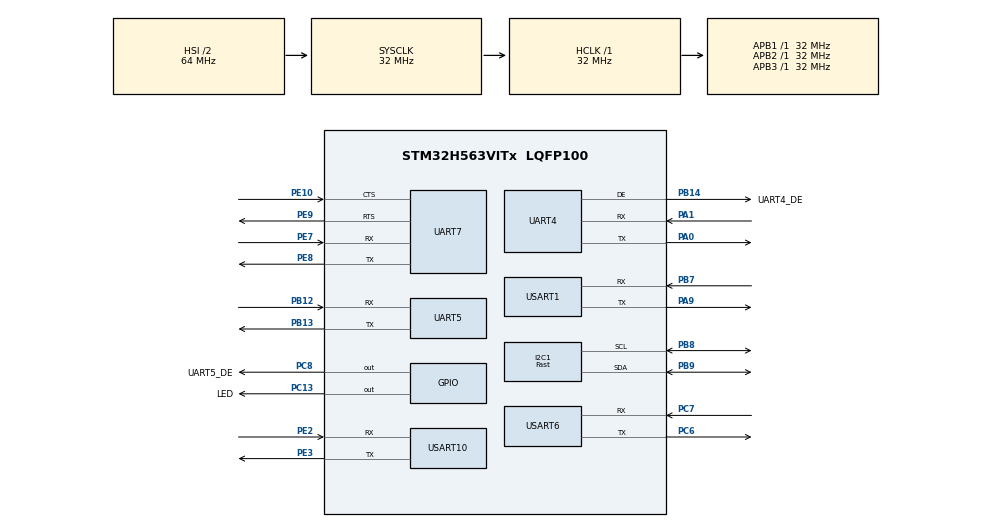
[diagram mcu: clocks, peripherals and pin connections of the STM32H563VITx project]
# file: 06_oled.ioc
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BOOTPATH.BootPathName=LEGACY
BOOTPATH.UserSelectedBootPath=LEGACY
CORTEX_M33_NS.userName=CORTEX_M33
GPDMA1.CIRCULARMODE_GPDMACH1=ENABLE
GPDMA1.CIRCULARMODE_GPDMACH2=ENABLE
GPDMA1.RECAP_GPDMACH1=GPDMA1_REQUEST_USART1_RX
I2C1.I2C_Speed_Mode=I2C_Fast
I2C1.Timing=0x00300F38
Mcu.Family=STM32H5
Mcu.Name=STM32H563VITx
Mcu.Package=LQFP100
NVIC.PriorityGroup=NVIC_PRIORITYGROUP_4
NVIC.USART1_IRQn=true\:0\:0\:false\:false\:true\:true\:true\:true
PA0.Mode=Asynchronous
PA0.Signal=UART4_TX
PA1.Mode=Asynchronous
PA1.Signal=UART4_RX
PA9.Mode=Asynchronous
PA9.Signal=USART1_TX
PB12.Mode=Asynchronous
PB12.Signal=UART5_RX
PB13.Mode=Asynchronous
PB13.Signal=UART5_TX
PB14.GPIO_Label=UART4_DE
PB14.Mode=Hardware Flow Control (RS485)
PB14.Signal=UART4_DE
PB7.Mode=Asynchronous
PB7.Signal=USART1_RX
PB8.Mode=I2C
PB8.Signal=I2C1_SCL
PB9.Mode=I2C
PB9.Signal=I2C1_SDA
PC13.GPIO_Label=LED
PC13.Signal=GPIO_Output
PC6.Mode=Asynchronous
PC6.Signal=USART6_TX
PC7.Mode=Asynchronous
PC7.Signal=USART6_RX
PC8.GPIO_Label=UART5_DE
PC8.Signal=GPIO_Output
PE10.Mode=CTS_RTS
PE10.Signal=UART7_CTS
PE2.Mode=Asynchronous
PE2.Signal=USART10_RX
PE3.Mode=Asynchronous
PE3.Signal=USART10_TX
PE7.Mode=Asynchronous
PE7.Signal=UART7_RX
PE8.Mode=Asynchronous
PE8.Signal=UART7_TX
PE9.Mode=CTS_RTS
PE9.Signal=UART7_RTS
ProjectManager.HeapSize=0x200
ProjectManager.StackSize=0x400
ProjectManager.TargetToolchain=STM32CubeIDE
RCC.ADCFreq_Value=32000000
RCC.AHBFreq_Value=32000000
RCC.APB1Freq_Value=32000000
RCC.APB1TimFreq_Value=32000000
RCC.APB2Freq_Value=32000000
RCC.APB2TimFreq_Value=32000000
RCC.APB3Freq_Value=32000000
RCC.CSI_VALUE=4000000
RCC.CortexFreq_Value=32000000
RCC.EPOD_VALUE=4000000
RCC.HCLKFreq_Value=32000000
RCC.HSE_VALUE=25000000
RCC.HSI48_VALUE=48000000
RCC.HSI_VALUE=64000000
RCC.LSE_VALUE=32768
RCC.LSIRC_VALUE=32000
RCC.SYSCLKFreq_VALUE=32000000
RCC.USBFreq_Value=48000000
RCC.VCOOutputFreq_Value=516000000
USART1.VirtualMode-Asynchronous=VM_ASYNC
USART10.VirtualMode=VM_ASYNC
USART6.VirtualMode=VM_ASYNC
VP_BOOTPATH_VS_BOOTPATH.Mode=BP_Activate
VP_CORTEX_M33_NS_VS_Hclk.Mode=Hclk_Mode
VP_GPDMA1_VS_GPDMACH1.Mode=SIMPLEREQUEST_GPDMACH1
VP_GPDMA1_VS_GPDMACH2.Mode=SIMPLEREQUEST_GPDMACH2
VP_ICACHE_VS_ENABLE_ICACHE_MEMORY.Mode=Memoryregions
VP_ICACHE_VS_ICACHE.Mode=DirectMappedCache
VP_MEMORYMAP_VS_MEMORYMAP.Mode=CurAppReg
VP_PWR_VS_LPOM.Mode=PowerOptimisation
VP_PWR_VS_SECSignals.Mode=Security/Privilege
board=custom

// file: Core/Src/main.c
/* USER CODE BEGIN Header */
/**
 ******************************************************************************
 * @file           : main.c
 * @brief          : Main program body
 ******************************************************************************
 * @attention
 *
 * Copyright (c) 2026 STMicroelectronics.
 * All rights reserved.
 *
 * This software is licensed under terms that can be found in the LICENSE file
 * in the root directory of this software component.
 * If no LICENSE file comes with this software, it is provided AS-IS.
 *
 ******************************************************************************
 */

/**
 * @brief 해당 예제는 이전 예제에 이어,
 *        ssd1306드라이버를 최대한 간단하게 구현하여
 *        oled에 사용자가 입력한 문자를 그대로 출력하게끔 구성해본 예제입니다.
 *        터미널상에서 oled test를 입력하고 oled에 키보드로 입력받은 문자열이 잘 출력되는지 확인 해봅시다.
 *        입력을 마칠땐 엔터키를 눌러 oled가 잘 꺼지는지도 확인 해줍시다.
 *
 * @note  .ioc에서는 i2c1을 활성화 하고, 아래 핀 번호가 맞는지 확인 해줍시다.
 *        I2C1_SCL [PB8]
 *        I2C1_SDA [PB9]
 *
 *        또한 standard i2c를 설정했을때 글자 출력 속도 및
 *        fast i2c를 설정했을때의 글자 출력 속도차이를 비교 해봅시다.
 */

/* USER CODE END Header */
#include "main.h"
#include "gpdma.h"
#include "i2c.h"
#include "icache.h"
#include "usart.h"
#include "gpio.h"

/* USER CODE BEGIN Includes */
#include <stdbool.h>
#include <string.h>

#include "cli.h"
#include "ssd1306.h" // oled 드라이버 추가
/* USER CODE END Includes */

/* USER CODE BEGIN PD */

// #define RX_BUF_SIZE 64

/* USER CODE END PD */

/* USER CODE BEGIN PV */

static uint8_t debug_uart_rx_char;
static bool    cli_led_toggle_req;
static bool    oled_block_mode_req = false; // oled 기능 테스트 요청 플래그

extern UART_HandleTypeDef huart1;
extern UART_HandleTypeDef huart4;
extern UART_HandleTypeDef huart5;
extern UART_HandleTypeDef huart6;
extern UART_HandleTypeDef huart7;
extern UART_HandleTypeDef huart10;
/* USER CODE END PV */

void SystemClock_Config(void);
/* USER CODE BEGIN PFP */

/**
 * @brief 각각의 기능에 대한 함수를 만들어 줍니다.
 */
void cliLed(cli_args_t *args);
void cliUart6(cli_args_t *args);
void cliUart10(cli_args_t *args);
void cliRs232(cli_args_t *args);
void cliRs485(cli_args_t *args);

/* USER CODE END PFP */

/* USER CODE BEGIN 0 */

/**
 * @brief uart 수신 콜백함수에서 cliProcess에 바로 문자를 하나씩 넘겨줍니다.
 */
void HAL_UART_RxCpltCallback(UART_HandleTypeDef *huart)
{
  if (huart == &huart1)
  {
    if (!oled_block_mode_req) // oled가 블락중에는 인터럽트를 받지 않음.
    {
      cliProcess(debug_uart_rx_char);
      HAL_UART_Receive_IT(&huart1, &debug_uart_rx_char, 1);
    }
  }
}

/**
 * @brief arduino와 같은 함수명 (선택 사항)
 */
uint32_t millis(void)
{
  return HAL_GetTick();
}

/**
 * @brief led처리 함수 : 사용법 (ex : "led toggle")
 */
void cliLed(cli_args_t *args)
{
  if (args->argc < 1)
  {
    cliPrintf("Usage: led on\r\n");
    cliPrintf("Usage: led off\r\n");
    cliPrintf("Usage: led toggle\r\n");
    return;
  }

  if (strcmp(args->argv[0], "on") == 0)
  {
    if (cli_led_toggle_req)
    {
      cli_led_toggle_req = false;
    }
    HAL_GPIO_WritePin(LED_GPIO_Port, LED_Pin, GPIO_PIN_RESET);
    cliPrintf("LED ON\r\n");
  }
  else if (strcmp(args->argv[0], "off") == 0)
  {
    if (cli_led_toggle_req)
    {
      cli_led_toggle_req = false;
    }
    HAL_GPIO_WritePin(LED_GPIO_Port, LED_Pin, GPIO_PIN_SET);
    cliPrintf("LED OFF\r\n");
  }
  else if (strcmp(args->argv[0], "toggle") == 0)
  {
    cli_led_toggle_req = true;
  }
  else
  {
    cliPrintf("Error: use 'on' or 'off'\r\n");
  }
}

/**
 * @brief uart send 함수 : 사용법 (ex : "uart6")
 */
void cliUart6(cli_args_t *args)
{
  char msg[] = "[SENT]Hello Uart!\r\n";
  HAL_UART_Transmit(&huart6, (uint8_t *)msg, strlen(msg), 100);
  cliPrintf("UART6 transmitted\r\n");
}

/**
 * @brief uart send 함수 : 사용법 (ex : "uart10")
 */
void cliUart10(cli_args_t *args)
{
  char msg[] = "[SENT]Hello Uart!\r\n";
  HAL_UART_Transmit(&huart10, (uint8_t *)msg, strlen(msg), 100);
  cliPrintf("UART10 transmitted\r\n");
}

/**
 * @brief rs232 send 함수 : 사용법 (ex : "rs232")
 */
void cliRs232(cli_args_t *args)
{
  char msg[] = "[RS232]Hello Uart!\r\n";
  HAL_UART_Transmit(&huart7, (uint8_t *)msg, strlen(msg), 100);
  cliPrintf("RS232 transmitted\r\n");
}

/**
 * @brief rs485 send 함수 : 사용법 (ex : "rs485 1")
 */
void cliRs485(cli_args_t *args)
{
  if (args->argc < 1)
  {
    cliPrintf("Usage: rs485 1 or 2\r\n");
    return;
  }

  if (strcmp(args->argv[0], "1") == 0)
  {
    HAL_GPIO_WritePin(UART5_DE_GPIO_Port, UART5_DE_Pin, GPIO_PIN_SET);

    char msg[] = "[RS485-1]Hello Uart!\r\n";
    HAL_UART_Transmit(&huart5, (uint8_t *)msg, strlen(msg), 100);

    while (__HAL_UART_GET_FLAG(&huart5, UART_FLAG_TC) == RESET)
      ;

    HAL_GPIO_WritePin(UART5_DE_GPIO_Port, UART5_DE_Pin, GPIO_PIN_RESET);
    cliPrintf("RS485-1 transmitted\r\n");
  }
  else if (strcmp(args->argv[0], "2") == 0)
  {
    HAL_GPIO_WritePin(UART4_DE_GPIO_Port, UART4_DE_Pin, GPIO_PIN_SET);

    char msg[] = "[RS485-2]Hello Uart!\r\n";
    HAL_UART_Transmit(&huart4, (uint8_t *)msg, strlen(msg), 100);

    while (__HAL_UART_GET_FLAG(&huart4, UART_FLAG_TC) == RESET)
      ;

    HAL_GPIO_WritePin(UART4_DE_GPIO_Port, UART4_DE_Pin, GPIO_PIN_RESET);
    cliPrintf("RS485-2 transmitted\r\n");
  }
  else
  {
    cliPrintf("Error: use '1' or '2'\r\n");
  }
}

/**
 * @brief oled에 문자열을 출력하는 함수
 *        (사용법 : oled test 입력 후 실시간으로 타이핑 시 oled에 입력)
 *        (나갈때는 Enter)
 */
void cliOled(cli_args_t *args)
{
  if (args->argc < 1 || strcmp(args->argv[0], "test") != 0)
  {
    cliPrintf("Usage: oled test\r\n");
    return;
  }

  oled_block_mode_req = true;

  HAL_UART_AbortReceive_IT(&huart1); // 해당 턴 인터럽트 수신 중지

  ssd1306Clear();
  ssd1306SetCursor(0, 0);
  ssd1306UpdateScreen();

  uint8_t ch;

  while (1)                                                        // cpu 멈추고 아래만 진행
  {
    HAL_StatusTypeDef ret = HAL_UART_Receive(&huart1, &ch, 1, 10); // 폴링방식으로 문자 받음 , 10ms만큼 블로킹

    if (ret == HAL_OK)
    {
      if (ch == '\r' || ch == '\n')                                // 엔터 입력시 while문을 벗어남
      {
        ssd1306Clear();
        ssd1306UpdateScreen();
        break;
      }
      else
      {
        ssd1306WriteChar((char)ch); // 버퍼에 입력글자 저장
        ssd1306UpdateScreen();
      }
    }
  }

  // 블로킹 모드 종료
  oled_block_mode_req = false;
  HAL_UART_Receive_IT(&huart1, &debug_uart_rx_char, 1); // CLI 복귀, 다시 인터럽트 수신을 활성화
}

/* USER CODE END 0 */

int main(void)
{

  /* MCU Configuration--------------------------------------------------------*/

  /* Reset of all peripherals, Initializes the Flash interface and the Systick. */
  HAL_Init();

  /* Configure the system clock */
  SystemClock_Config();

  /* Initialize all configured peripherals */
  MX_GPIO_Init();
  MX_GPDMA1_Init();
  MX_USART1_UART_Init();
  MX_USART6_UART_Init();
  MX_USART10_UART_Init();
  MX_ICACHE_Init();
  MX_UART7_Init();
  MX_UART4_Init();
  MX_UART5_Init();
  MX_I2C1_Init();
  /* USER CODE BEGIN 2 */
  HAL_GPIO_WritePin(LED_GPIO_Port, LED_Pin, GPIO_PIN_SET);

  HAL_UART_Receive_IT(&huart1, &debug_uart_rx_char, 1);

  HAL_GPIO_WritePin(UART4_DE_GPIO_Port, UART4_DE_Pin, GPIO_PIN_RESET);
  HAL_GPIO_WritePin(UART5_DE_GPIO_Port, UART5_DE_Pin, GPIO_PIN_RESET);

  // cli 초기화 및 명령을 등록 해줍시다.
  cliInit();
  cliAdd("led", cliLed);
  cliAdd("uart6", cliUart6);
  cliAdd("uart10", cliUart10);
  cliAdd("rs232", cliRs232);
  cliAdd("rs485", cliRs485);
  cliAdd("oled", cliOled); // 위에서 만든 함수를 추가 해줍시다.

  ssd1306Init();           // oled 초기화

  /* USER CODE END 2 */

  /* Infinite loop */
  /* USER CODE BEGIN WHILE */

  while (1)
  {
    if (cli_led_toggle_req)
    {
      static uint32_t pre_time;
      static bool     current_led_state = true; // off

      if (millis() - pre_time > 500)
      {
        pre_time          = millis();
        current_led_state = !current_led_state;
        HAL_GPIO_WritePin(LED_GPIO_Port, LED_Pin, current_led_state);
      }
    }

    /* USER CODE END WHILE */

  }
}

void SystemClock_Config(void)
{
  RCC_OscInitTypeDef RCC_OscInitStruct = {0};
  RCC_ClkInitTypeDef RCC_ClkInitStruct = {0};

  /** Configure the main internal regulator output voltage
  */
  __HAL_PWR_VOLTAGESCALING_CONFIG(PWR_REGULATOR_VOLTAGE_SCALE3);

  while(!__HAL_PWR_GET_FLAG(PWR_FLAG_VOSRDY)) {}

  /** Initializes the RCC Oscillators according to the specified parameters
  * in the RCC_OscInitTypeDef structure.
  */
  RCC_OscInitStruct.OscillatorType = RCC_OSCILLATORTYPE_HSI;
  RCC_OscInitStruct.HSIState = RCC_HSI_ON;
  RCC_OscInitStruct.HSIDiv = RCC_HSI_DIV2;
  RCC_OscInitStruct.HSICalibrationValue = RCC_HSICALIBRATION_DEFAULT;
  RCC_OscInitStruct.PLL.PLLState = RCC_PLL_NONE;
  if (HAL_RCC_OscConfig(&RCC_OscInitStruct) != HAL_OK)
  {
    Error_Handler();
  }

  /** Initializes the CPU, AHB and APB buses clocks
  */
  RCC_ClkInitStruct.ClockType = RCC_CLOCKTYPE_HCLK|RCC_CLOCKTYPE_SYSCLK
                              |RCC_CLOCKTYPE_PCLK1|RCC_CLOCKTYPE_PCLK2
                              |RCC_CLOCKTYPE_PCLK3;
  RCC_ClkInitStruct.SYSCLKSource = RCC_SYSCLKSOURCE_HSI;
  RCC_ClkInitStruct.AHBCLKDivider = RCC_SYSCLK_DIV1;
  RCC_ClkInitStruct.APB1CLKDivider = RCC_HCLK_DIV1;
  RCC_ClkInitStruct.APB2CLKDivider = RCC_HCLK_DIV1;
  RCC_ClkInitStruct.APB3CLKDivider = RCC_HCLK_DIV1;

  if (HAL_RCC_ClockConfig(&RCC_ClkInitStruct, FLASH_LATENCY_1) != HAL_OK)
  {
    Error_Handler();
  }

  /** Configure the programming delay
  */
  __HAL_FLASH_SET_PROGRAM_DELAY(FLASH_PROGRAMMING_DELAY_0);
}

void Error_Handler(void)
{
  __disable_irq();
  while (1)
  {
  }
}
